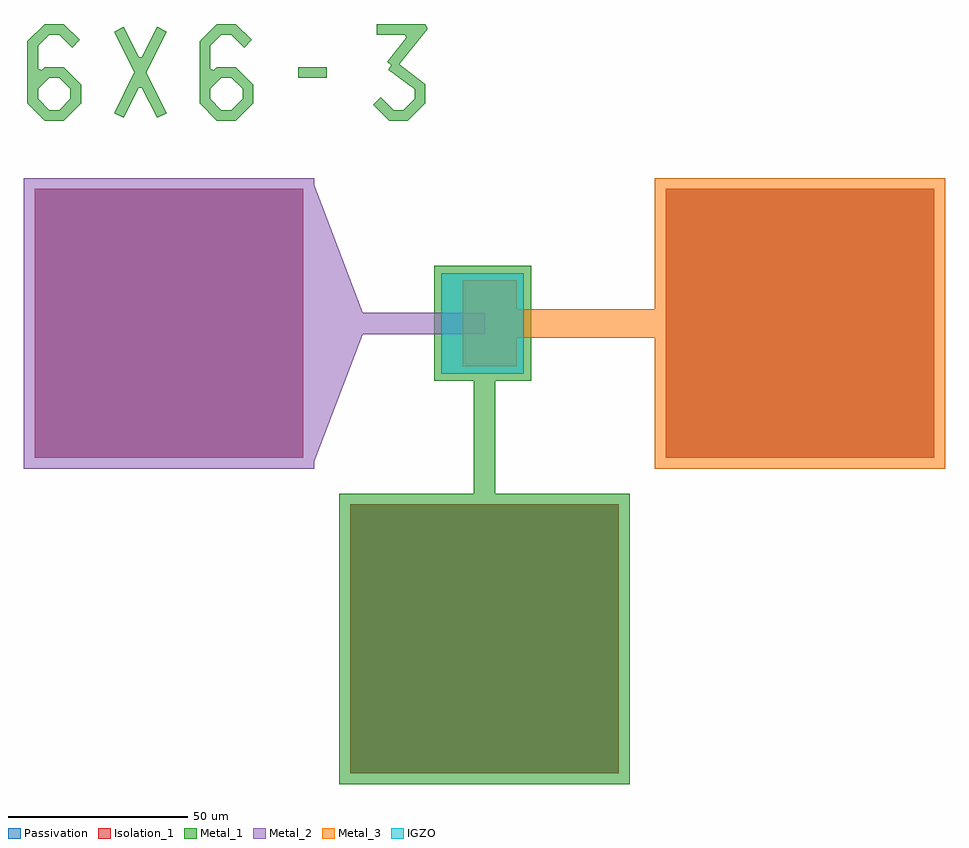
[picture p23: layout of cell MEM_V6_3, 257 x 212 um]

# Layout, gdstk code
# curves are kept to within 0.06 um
import gdstk
lib = gdstk.Library(unit=1e-6, precision=1e-09)
def R(c, l, rs):  # rectangles x0, y0, x1, y1
    for r in rs: c.add(gdstk.rectangle(r[:2], r[2:], *l))
def P(c, l, *ps):  # polygons
    for p in ps: c.add(gdstk.Polygon(p, *l))
Metal_1 = (1, 0)
Isolation_1 = (2, 0)
Metal_2 = (3, 0)
IGZO = (4, 0)
Metal_3 = (5, 0)
Passivation = (6, 0)

mem_v6_3 = lib.new_cell('MEM_V6_3')
R(mem_v6_3, Metal_1, [(87.5,-0.5,168.5,80.5), (76,196.5,84,199.5)])
P(mem_v6_3, Metal_1, [(101.378,184.5),(96.939,188.939),(99.061,191.061),(102.622,187.5),(105.378,187.5),(108.5,190.622),(108.5,193.25),(101.1,198.8),(101.999,200),(100.83,200.937),(106.204,207.656),(105.798,208.5),(98,208.5),(98,211.5),(111.5,211.5),(112.108,210.234),(104.158,200.297),(111.5,194.75),(111.5,189.378),(106.622,184.5)],
  [(5.378,184.5),(0.5,189.378),(0.5,196.5),(6.622,196.5),(3.5,193.378),(3.5,190.622),(6.622,187.5),(9.378,187.5),(12.5,190.622),(12.5,193.378),(9.378,196.5),(0.5,196.5),(0.5,206.622),(5.378,211.5),(10.622,211.5),(15.061,207.061),(12.939,204.939),(9.378,208.5),(6.622,208.5),(3.5,205.378),(3.5,199.036),(4.5,198.622),(5.378,199.5),(10.622,199.5),(15.5,194.622),(15.5,189.378),(10.622,184.5)],
  [(53.378,184.5),(48.5,189.378),(48.5,196.5),(54.622,196.5),(51.5,193.378),(51.5,190.622),(54.622,187.5),(57.378,187.5),(60.5,190.622),(60.5,193.378),(57.378,196.5),(48.5,196.5),(48.5,206.622),(53.378,211.5),(58.622,211.5),(63.061,207.061),(60.939,204.939),(57.378,208.5),(54.622,208.5),(51.5,205.378),(51.5,199.036),(52.5,198.622),(53.378,199.5),(58.622,199.5),(63.5,194.622),(63.5,189.378),(58.622,184.5)],
  [(27.342,185.328),(24.657,186.671),(30.322,198),(24.657,209.329),(27.342,210.672),(31.553,202.248),(32.447,202.248),(36.658,210.672),(39.343,209.329),(33.677,198),(39.343,186.671),(36.658,185.328),(32.447,193.752),(31.553,193.752)],
  [(88,0),(88,80),(125,80),(125,112),(114,112),(114,144),(141,144),(141,112),(131,112),(131,80),(168,80),(168,0)])
R(mem_v6_3, Isolation_1, [(90.5,2.5,165.5,77.5), (2.5,90.5,77.5,165.5), (178.5,90.5,253.5,165.5)])
R(mem_v6_3, Metal_2, [(-0.5,87.5,80.5,168.5), (0,88,80,168)])
P(mem_v6_3, Metal_2, [(80,88),(80,168),(94,131),(128,131),(128,125),(94,125)])
R(mem_v6_3, IGZO, [(116,114,139,142)])
R(mem_v6_3, Metal_3, [(175.5,87.5,256.5,168.5)])
P(mem_v6_3, Metal_3, [(176,88),(176,124),(137,124),(137,116),(122,116),(122,140),(137,140),(137,132),(176,132),(176,168),(256,168),(256,88)])
R(mem_v6_3, Passivation, [(90.5,2.5,165.5,77.5), (2.5,90.5,77.5,165.5), (178.5,90.5,253.5,165.5)])

lib.write_gds('MEM_V6_3.gds')
